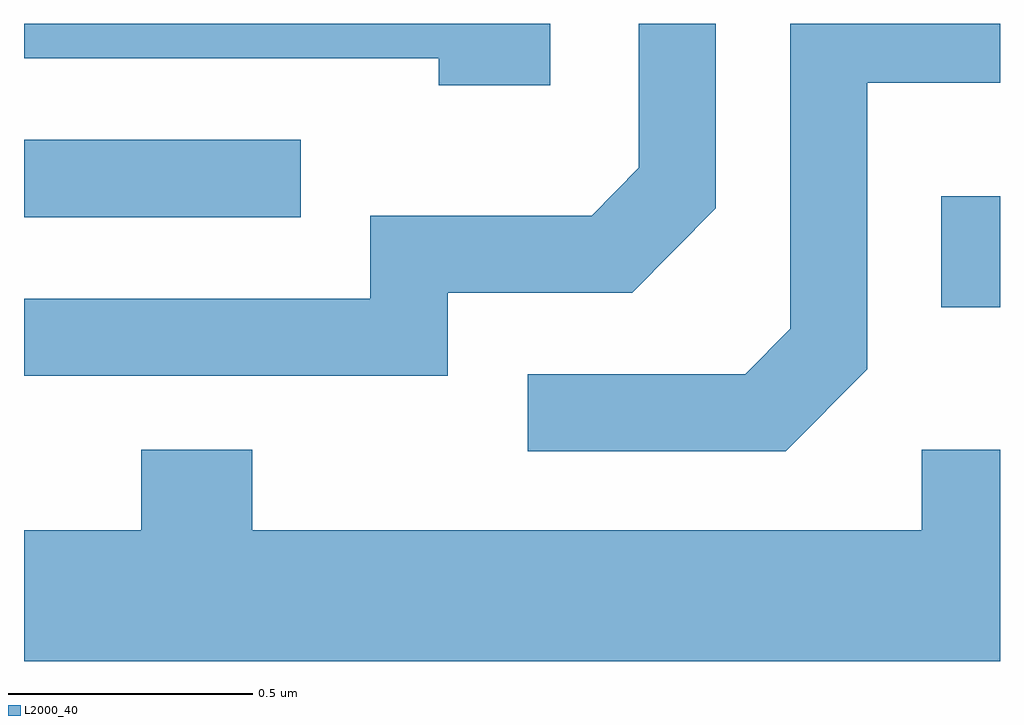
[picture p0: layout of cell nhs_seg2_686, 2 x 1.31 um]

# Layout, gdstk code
import gdstk
lib = gdstk.Library(unit=1e-6, precision=1e-09)
def R(c, l, rs):  # rectangles x0, y0, x1, y1
    for r in rs: c.add(gdstk.rectangle(r[:2], r[2:], *l))
def P(c, l, *ps):  # polygons
    for p in ps: c.add(gdstk.Polygon(p, *l))
L2000_40 = (2000, 40)

nhs_seg2_686 = lib.new_cell('nhs_seg2_686')
R(nhs_seg2_686, L2000_40, [(192.491,980.221,192.611,980.449), (190.611,980.406,191.178,980.564)])
P(nhs_seg2_686, L2000_40, [(191.689,980.802),(190.611,980.802),(190.611,980.731),(191.461,980.731),(191.461,980.676),(191.689,980.676)],
  [(192.339,980.094),(192.339,980.681),(192.611,980.681),(192.611,980.802),(192.181,980.802),(192.181,980.177),(192.089,980.084),(191.643,980.084),(191.643,979.926),(192.172,979.926)],
  [(191.479,980.251),(191.857,980.251),(192.029,980.424),(192.029,980.802),(191.871,980.802),(191.871,980.507),(191.774,980.409),(191.321,980.409),(191.321,980.239),(190.611,980.239),(190.611,980.081),(191.479,980.081)],
  [(192.611,979.929),(192.451,979.929),(192.451,979.764),(191.079,979.764),(191.079,979.929),(190.851,979.929),(190.851,979.764),(190.611,979.764),(190.611,979.496),(192.611,979.496)])

lib.write_gds('nhs_seg2_686.gds')
